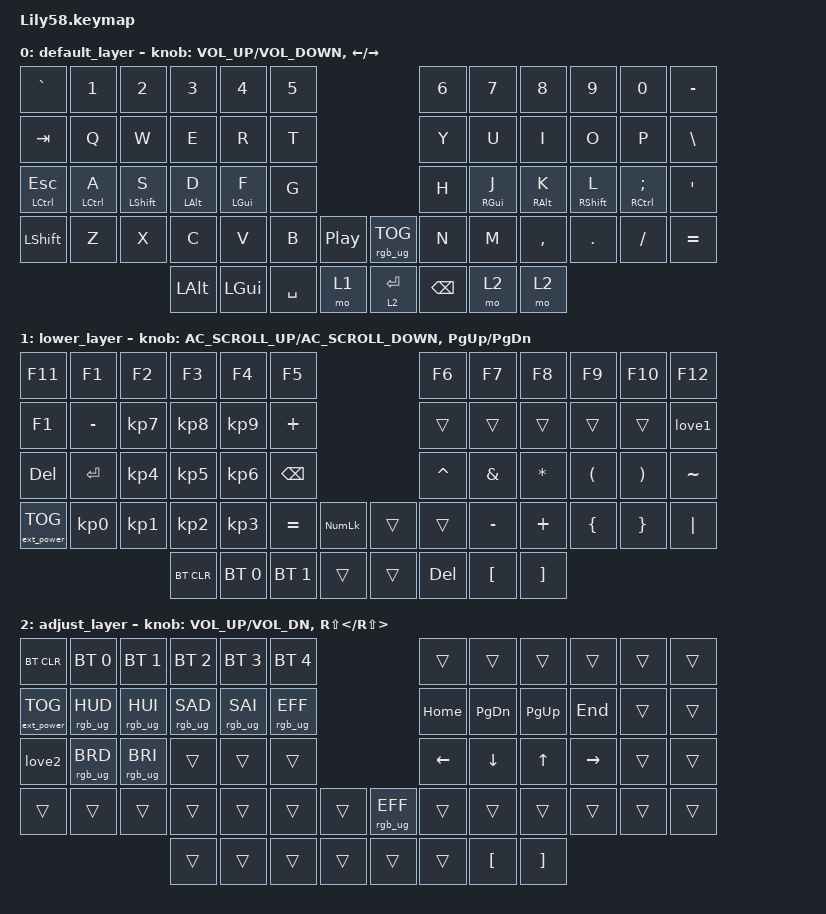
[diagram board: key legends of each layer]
/*
 * Copyright (c) 2020 The ZMK Contributors
 *
 * SPDX-License-Identifier: MIT
 */

#include <behaviors.dtsi>
#include <dt-bindings/zmk/bt.h>
#include <dt-bindings/zmk/ext_power.h>
#include <dt-bindings/zmk/keys.h>
#include <dt-bindings/zmk/rgb.h>

/ {
    // Activate ADJUST layer by pressing raise and lower

    conditional_layers {
        compatible = "zmk,conditional-layers";

        adjust_layer {
            if-layers = <1 2>;
            then-layer = <3>;
        };
    };

    behaviors {
        home_row: home_row {
            compatible = "zmk,behavior-hold-tap";
            label = "HOME_ROW";
            bindings = <&kp>, <&kp>;

            #binding-cells = <2>;
            tapping-term-ms = <165>;
            flavor = "balanced";
            hold-trigger-key-positions = <25 26 27 28 31 32 33 34 24>;
            hold-trigger-on-release;
        };

        tap_layer: tap_layer {
            compatible = "zmk,behavior-hold-tap";
            label = "TAP_LAYER";
            bindings = <&mo>, <&kp>;

            #binding-cells = <2>;
            tapping-term-ms = <180>;
            hold-trigger-key-positions = <54>;
            flavor = "hold-preferred";
        };
    };

    macros {
        love1: love1 {
            compatible = "zmk,behavior-macro";
            #binding-cells = <0>;
            bindings = <&kp LA(LC(RA(RC(RG(LG(F14))))))>;
            label = "LOVE1";
        };

        love2: love2 {
            compatible = "zmk,behavior-macro";
            #binding-cells = <0>;
            bindings = <&kp LS(RS(RA(LC(RC(LA(F20))))))>;
            label = "LOVE2";
        };
    };

    keymap {
        compatible = "zmk,keymap";

        default_layer {
            // ------------------------------------------------------------------------------------------------------------
            // |  ESC  |  1  |  2  |  3   |  4   |  5   |                   |  6   |  7    |  8    |  9   |   0   |   `   |
            // |  TAB  |  Q  |  W  |  E   |  R   |  T   |                   |  Y   |  U    |  I    |  O   |   P   |   -   |
            // |  CTRL |  A  |  S  |  D   |  F   |  G   |                   |  H   |  J    |  K    |  L   |   ;   |   '   |
            // | SHIFT |  Z  |  X  |  C   |  V   |  B   |  MUTE  |  |RGB_TOG|  N   |  M    |  ,    |  .   |   /   | SHIFT |
            //                     | ALT  | GUI  | LOWER|  SPACE |  | ENTER | RAISE| BSPC  | GUI   |

            bindings = <
&kp GRAVE               &kp N1             &kp N2                  &kp N3                &kp N4                &kp N5                                             &kp N6         &kp N7                 &kp N8                 &kp N9                   &kp N0                     &kp MINUS
&kp TAB                 &kp Q              &kp W                   &kp E                 &kp R                 &kp T                                              &kp Y          &kp U                  &kp I                  &kp O                    &kp P                      &kp BACKSLASH
&home_row LCTRL ESCAPE  &home_row LCTRL A  &home_row LEFT_SHIFT S  &home_row LEFT_ALT D  &home_row LEFT_GUI F  &kp G                                              &kp H          &home_row RIGHT_GUI J  &home_row RIGHT_ALT K  &home_row RIGHT_SHIFT L  &home_row RCTRL SEMICOLON  &kp SQT
&kp LSHFT               &kp Z              &kp X                   &kp C                 &kp V                 &kp B      &kp C_PLAY_PAUSE    &rgb_ug RGB_TOG     &kp N          &kp M                  &kp COMMA              &kp DOT                  &kp FSLH                   &kp EQUAL
                                                                   &kp LALT              &kp LGUI              &kp SPACE  &mo 1               &tap_layer 2 ENTER  &kp BACKSPACE  &mo 2                  &mo 2
            >;

            sensor-bindings =
                <&inc_dec_kp C_VOLUME_UP C_VOLUME_DOWN>,
                <&inc_dec_kp LEFT_ARROW RIGHT_ARROW>;
        };

        lower_layer {
            // ------------------------------------------------------------------------------------------------------------
            // | BTCLR | BT1 | BT2 |  BT3 |  BT4 |  BT5 |                   |      |       |       |      |       |       |
            // |  F1   |  F2 |  F3 |  F4  |  F5  |  F6  |                   |  F7  |  F8   |  F9   |  F10 |  F11  |  F12  |
            // |   `   |  !  |  @  |  #   |  $   |  %   |                   |  ^   |  &    |  *    |  (   |   )   |   ~   |
            // |EXTPWR |     |     |      |      |      |        |  |       |      |  _    |  +    |  {   |   }   |  "|"  |
            //                     |      |      |      |        |  |       |      |       |       |

            bindings = <
&kp F11            &kp F1           &kp F2           &kp F3           &kp F4           &kp F5                                   &kp F6      &kp F7            &kp F8             &kp F9    &kp F10   &kp F12
&kp F1             &kp MINUS        &kp KP_NUMBER_7  &kp KP_NUMBER_8  &kp KP_NUMBER_9  &kp PLUS                                 &trans      &trans            &trans             &trans    &trans    &love1
&kp DELETE         &kp ENTER        &kp KP_NUMBER_4  &kp KP_NUMBER_5  &kp KP_NUMBER_6  &kp BACKSPACE                            &kp CARET   &kp AMPS          &kp ASTRK          &kp LPAR  &kp RPAR  &kp TILDE
&ext_power EP_TOG  &kp KP_NUMBER_0  &kp KP_NUMBER_1  &kp KP_NUMBER_2  &kp KP_NUMBER_3  &kp EQUAL      &kp KP_NUMLOCK    &trans  &trans      &kp MINUS         &kp PLUS           &kp LBRC  &kp RBRC  &kp PIPE
                                                     &bt BT_CLR       &bt BT_SEL 0     &bt BT_SEL 1   &trans            &trans  &kp DELETE  &kp LEFT_BRACKET  &kp RIGHT_BRACKET
            >;

            sensor-bindings =
                <&inc_dec_kp C_AC_SCROLL_UP C_AC_SCROLL_DOWN>,
                <&inc_dec_kp PAGE_UP PAGE_DOWN>;
        };

        adjust_layer {
            // ----------------------------------------------------------------------------------------------------------------------------
            // | BTCLR  |  BT1    |  BT2    |   BT3   |   BT4   |   BT5   |                  |      |      |       |      |       |       |
            // | EXTPWR | RGB_HUD | RGB_HUI | RGB_SAD | RGB_SAI | RGB_EFF |                  |      |      |       |      |       |       |
            // |        | RGB_BRD | RGB_BRI |         |         |         |                  |      |      |       |      |       |       |
            // |        |         |         |         |         |         | RGB_TOG | |      |      |      |       |      |       |       |
            //                    |         |         |         |         |         | |      |      |      |       |      |

            bindings = <
&bt BT_CLR         &bt BT_SEL 0     &bt BT_SEL 1     &bt BT_SEL 2     &bt BT_SEL 3     &bt BT_SEL 4                                &trans          &trans            &trans             &trans           &trans  &trans
&ext_power EP_TOG  &rgb_ug RGB_HUD  &rgb_ug RGB_HUI  &rgb_ug RGB_SAD  &rgb_ug RGB_SAI  &rgb_ug RGB_EFF                             &kp HOME        &kp PAGE_DOWN     &kp PAGE_UP        &kp END          &trans  &trans
&love2             &rgb_ug RGB_BRD  &rgb_ug RGB_BRI  &trans           &trans           &trans                                      &kp LEFT_ARROW  &kp DOWN_ARROW    &kp UP_ARROW       &kp RIGHT_ARROW  &trans  &trans
&trans             &trans           &trans           &trans           &trans           &trans           &trans    &rgb_ug RGB_EFF  &trans          &trans            &trans             &trans           &trans  &trans
                                                     &trans           &trans           &trans           &trans    &trans           &trans          &kp LEFT_BRACKET  &kp RIGHT_BRACKET
            >;

            sensor-bindings =
                <&inc_dec_kp C_VOL_UP C_VOL_DN>,
                <&inc_dec_kp RS(LESS_THAN) RS(GREATER_THAN)>;
        };

        extra1 { status = "reserved"; };

        extra2 { status = "reserved"; };

        extra3 { status = "reserved"; };

        extra4 { status = "reserved"; };

        extra5 { status = "reserved"; };
    };
};
